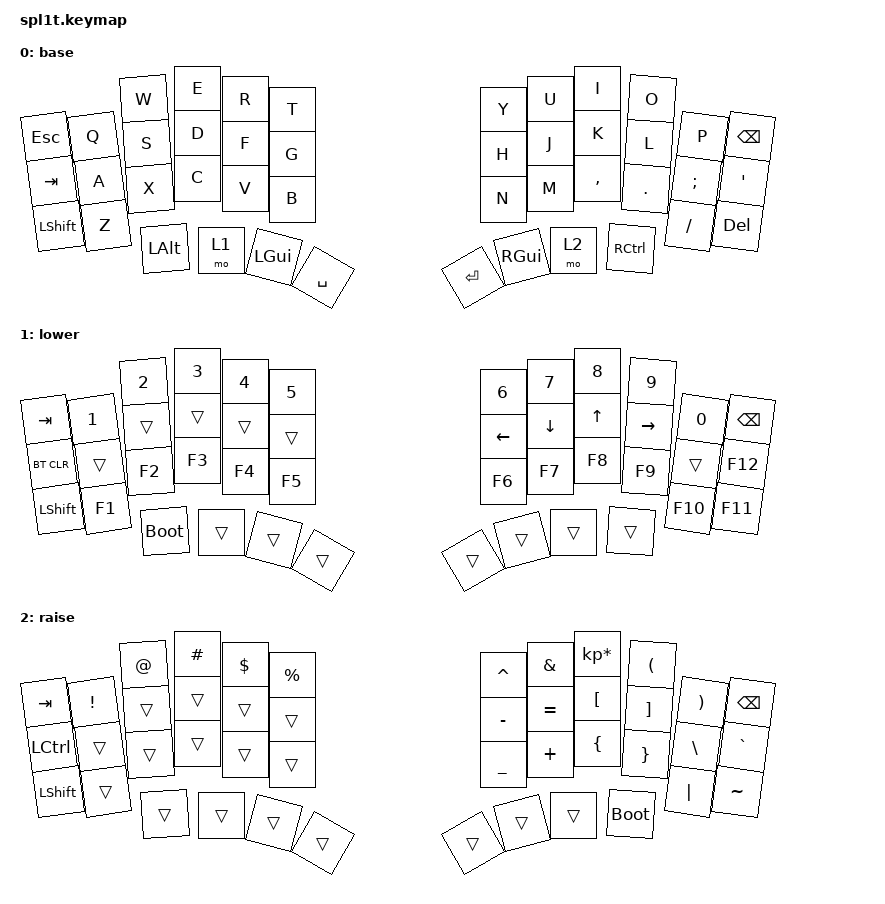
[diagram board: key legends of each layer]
#include <behaviors.dtsi>
#include <dt-bindings/zmk/bt.h>
#include <dt-bindings/zmk/keys.h>

/ {
    keymap {
        compatible = "zmk,keymap";

        default_layer {
            display-name = "base";

            // ---------------------------------------------------------------------------------------------------------
            // | ESC     | Q       | W       | E       | R       | T       |                | Y       | U       | I       | O       | P       | BSPC    |
            // | TAB     | A       | S       | D       | F       | G       |                | H       | J       | K       | L       | ;       | '       |
            // | LSHIFT  | Z       | X       | C       | V       | B       |                | N       | M       | ,       | .       | /       | DEL     |
            //                               | OPT     | LWR     | CMD     | SPC    | RET   | CMD     | RSE     | RCTRL   |
            bindings = <
                &kp ESC     &kp Q       &kp W       &kp E       &kp R       &kp T             &kp Y       &kp U       &kp I       &kp O       &kp P       &kp BSPC
                &kp TAB     &kp A       &kp S       &kp D       &kp F       &kp G             &kp H       &kp J       &kp K       &kp L       &kp SEMI    &kp SQT
                &kp LSHFT   &kp Z       &kp X       &kp C       &kp V       &kp B             &kp N       &kp M       &kp COMMA   &kp DOT     &kp FSLH    &kp DEL
                                                &kp LALT   &mo 1    &kp LGUI    &kp SPACE &kp RET  &kp RGUI     &mo 2       &kp RCTRL
            >;
        };

        lower_layer {
            display-name = "lower";

            // ---------------------------------------------------------------------------------------------------------
            // | TAB     | 1       | 2       | 3       | 4       | 5       |     | 6       | 7       | 8       | 9       | 0       | BSPC    |
            // | BT_CLR  | BT_0    | BT_1    | BT_2    | BT_3    | BT_4    |     | LEFT    | DOWN    | UP      | RIGHT   |         | F12     |
            // | LSHIFT  | F1      | F2      | F3      | F4      | F5      |     | F6      | F7      | F8      | F9      | F10     | F11     |
            //                               | BOOT    |         |         |     |         |         |         |         |
            bindings = <
                &kp TAB     &kp N1      &kp N2      &kp N3      &kp N4      &kp N5            &kp N6      &kp N7      &kp N8      &kp N9      &kp N0      &kp BSPC
                &bt BT_CLR  &trans      &trans      &trans      &trans      &trans            &kp LEFT    &kp DOWN    &kp UP      &kp RIGHT   &trans      &kp F12
                &kp LSHFT   &kp F1      &kp F2      &kp F3      &kp F4      &kp F5            &kp F6      &kp F7      &kp F8      &kp F9      &kp F10     &kp F11
                                                &bootloader &trans      &trans      &trans            &trans      &trans      &trans      &trans
            >;
        };

        raise_layer {
            display-name = "raise";

            // ---------------------------------------------------------------------------------------------------------
            // | TAB     | !       | @       | #       | $       | %       |     | ^       | &       | *       | (       | )       | BSPC    |
            // | LCTRL   |         |         |         |         |         |     | -       | =       | [       | ]       | \       | `       |
            // | LSHIFT  |         |         |         |         |         |     | _       | +       | {       | }       | |       | ~       |
            //                               |         |         |         |     |         |         |         | BOOT    |
            bindings = <
                &kp TAB     &kp EXCL    &kp AT      &kp HASH    &kp DLLR    &kp PRCNT         &kp CARET   &kp AMPS    &kp KP_MULTIPLY &kp LPAR    &kp RPAR    &kp BSPC
                &kp LCTRL   &trans      &trans      &trans      &trans      &trans            &kp MINUS   &kp EQUAL   &kp LBKT        &kp RBKT    &kp BSLH    &kp GRAVE
                &kp LSHFT   &trans      &trans      &trans      &trans      &trans            &kp UNDER   &kp PLUS    &kp LBRC        &kp RBRC    &kp PIPE    &kp TILDE
                                                &trans      &trans      &trans      &trans            &trans      &trans      &trans      &bootloader
            >;
        };
    };
};
